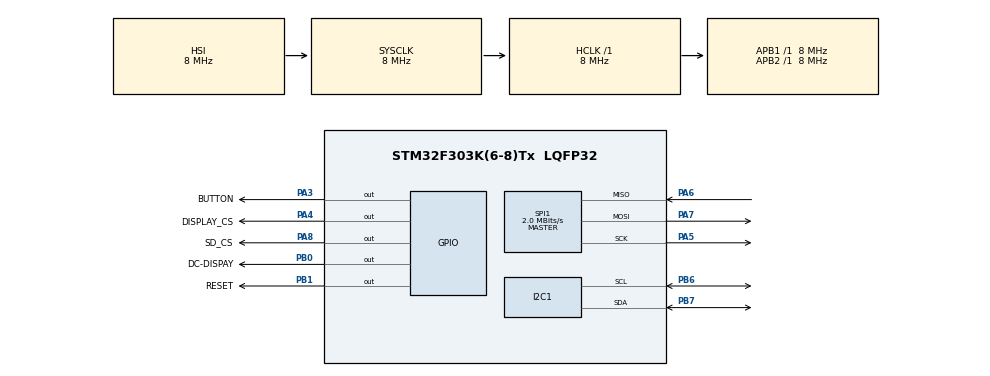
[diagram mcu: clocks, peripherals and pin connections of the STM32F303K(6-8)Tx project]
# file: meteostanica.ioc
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FATFS._MAX_SS=512
FATFS._USE_LFN=1
I2C1.Timing=0x00201D2B
Mcu.Family=STM32F3
Mcu.Name=STM32F303K(6-8)Tx
Mcu.Package=LQFP32
NVIC.PriorityGroup=NVIC_PRIORITYGROUP_4
PA13.GPIO_Label=SWDIO
PA13.Mode=Serial_Wire
PA13.Signal=SYS_JTMS-SWDIO
PA14.GPIO_Label=SWCLK
PA14.Mode=Serial_Wire
PA14.Signal=SYS_JTCK-SWCLK
PA3.GPIO_Label=BUTTON
PA3.Signal=GPIO_Output
PA4.GPIO_Label=DISPLAY_CS
PA4.Signal=GPIO_Output
PA5.GPIO_PuPd=GPIO_PULLUP
PA5.Mode=Full_Duplex_Master
PA5.Signal=SPI1_SCK
PA6.GPIO_PuPd=GPIO_PULLUP
PA6.Mode=Full_Duplex_Master
PA6.Signal=SPI1_MISO
PA7.GPIO_PuPd=GPIO_PULLUP
PA7.Mode=Full_Duplex_Master
PA7.Signal=SPI1_MOSI
PA8.GPIO_Label=SD_CS
PA8.PinState=GPIO_PIN_SET
PA8.Signal=GPIO_Output
PB0.GPIO_Label=DC-DISPAY
PB0.Signal=GPIO_Output
PB1.GPIO_Label=RESET
PB1.Signal=GPIO_Output
PB6.Mode=I2C
PB6.Signal=I2C1_SCL
PB7.Mode=I2C
PB7.Signal=I2C1_SDA
PF0\ /\ OSC_IN.Mode=HSE-External-Oscillator
PF0\ /\ OSC_IN.Signal=RCC_OSC_IN
ProjectManager.HeapSize=0x200
ProjectManager.StackSize=0x400
ProjectManager.TargetToolchain=STM32CubeIDE
RCC.AHBFreq_Value=8000000
RCC.APB1Freq_Value=8000000
RCC.APB2Freq_Value=8000000
RCC.CortexFreq_Value=8000000
RCC.HSE_VALUE=8000000
RCC.HSI_VALUE=8000000
RCC.SYSCLKFreq_VALUE=8000000
RTC.Date=20
RTC.Hours=8
RTC.Month=RTC_MONTH_DECEMBER
RTC.SynchPrediv=249
RTC.WeekDay=RTC_WEEKDAY_THURSDAY
RTC.Year=24
SPI1.BaudRatePrescaler=SPI_BAUDRATEPRESCALER_4
SPI1.CalculateBaudRate=2.0 MBits/s
SPI1.DataSize=SPI_DATASIZE_8BIT
SPI1.Direction=SPI_DIRECTION_2LINES
SPI1.Mode=SPI_MODE_MASTER
SPI1.VirtualType=VM_MASTER
VP_FATFS_VS_Generic.Mode=User_defined
VP_RTC_VS_RTC_Activate.Mode=RTC_Enabled
VP_RTC_VS_RTC_Calendar.Mode=RTC_Calendar
board=custom

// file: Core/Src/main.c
/* USER CODE BEGIN Header */
/**
  ******************************************************************************
  * @file           : main.c
  * @brief          : Main program body
  ******************************************************************************
  * @attention
  *
  * <h2><center>&copy; Copyright (c) 2019 STMicroelectronics.
  * All rights reserved.</center></h2>
  *
  * This software component is licensed by ST under BSD 3-Clause license,
  * the "License"; You may not use this file except in compliance with the
  * License. You may obtain a copy of the License at:
  *                        opensource.org/licenses/BSD-3-Clause
  *
  ******************************************************************************
  */
/* USER CODE END Header */
#include "main.h"
#include "fatfs.h"

/* USER CODE BEGIN Includes */
#include "lps25hb.h"
#include "spi.h"
#include "hts221.h"
#include "i2c.h"
#include "zambretti.h"
#include "gpio.h"
#include "ili9163.h"
#include <stdio.h>
#include <time.h>
#include <stdlib.h>
/* USER CODE END Includes */

RTC_HandleTypeDef hrtc;

/* USER CODE BEGIN PV */
RTC_HandleTypeDef hrtc;
DMA_HandleTypeDef hdma_spi1_tx;
//TIM_HandleTypeDef htim2;

/* USER CODE END PV */

void SystemClock_Config(void);
//static void MX_GPIO_Init(void);
static void MX_I2C1_Init(void);
//static void MX_SPI1_Init(void);
static void MX_RTC_Init(void);
/* USER CODE BEGIN PFP */
void TempHumPres(float temperature, float humidity, int pressure);

/* USER CODE END PFP */

/* USER CODE BEGIN 0 */
float temperature = 0;
float humidity = 0;
float pressure = 0;
char z_text[50];
uint8_t rx_data = 0;
uint8_t switchState = 0; // 0 = main program, 1 = graph
float temperatureHistory[24 * 7] = {0}; // Array for 7 days of hourly temperatures
uint8_t graphDrawn = 0;

/* USER CODE BEGIN 0 */
void EXTI3_IRQHandler(void)
{

        if (LL_EXTI_IsActiveFlag_0_31(LL_EXTI_LINE_3))
        {
            LL_EXTI_ClearFlag_0_31(LL_EXTI_LINE_3); // Clear the interrupt flag
            switchState = !switchState; // Toggle switch state
        }

}

/* USER CODE END 0 */

int main(void)
{

  /* MCU Configuration--------------------------------------------------------*/

  /* Reset of all peripherals, Initializes the Flash interface and the Systick. */
  HAL_Init();

  /* Configure the system clock */
  SystemClock_Config();

  /* Initialize all configured peripherals */
  MX_GPIO_Init();
  MX_I2C1_Init();
  MX_SPI1_Init();
  MX_FATFS_Init();
  MX_RTC_Init();
  /* USER CODE BEGIN 2 */
  initCD_Pin();
  initCS_Pin();
  initRES_Pin();
  LL_mDelay(50);
  lcdInitialise(0x48);
  lcdClearDisplay(0xFFFF);
  HTS221_init();
  LPS25HB_init();

  /* USER CODE END 2 */

  /* Infinite loop */
  /* USER CODE BEGIN WHILE */
  NVIC_SetPriorityGrouping(NVIC_PRIORITYGROUP_4);
  for (int i = 0; i < 8 * 7; i++) {
        temperatureHistory[i] = (rand() % 21) + 10; // Random temperatures between 10 and 30 degrees
    }

  uint8_t lastWeather = 0;
  while (1)
  {
    /* USER CODE END WHILE */

  }
}

void SystemClock_Config(void)
{
  RCC_OscInitTypeDef RCC_OscInitStruct = {0};
  RCC_ClkInitTypeDef RCC_ClkInitStruct = {0};
  RCC_PeriphCLKInitTypeDef PeriphClkInit = {0};

  /** Initializes the RCC Oscillators according to the specified parameters
  * in the RCC_OscInitTypeDef structure.
  */
  RCC_OscInitStruct.OscillatorType = RCC_OSCILLATORTYPE_HSI|RCC_OSCILLATORTYPE_LSI;
  RCC_OscInitStruct.HSIState = RCC_HSI_ON;
  RCC_OscInitStruct.HSICalibrationValue = RCC_HSICALIBRATION_DEFAULT;
  RCC_OscInitStruct.LSIState = RCC_LSI_ON;
  RCC_OscInitStruct.PLL.PLLState = RCC_PLL_NONE;
  if (HAL_RCC_OscConfig(&RCC_OscInitStruct) != HAL_OK)
  {
    Error_Handler();
  }

  /** Initializes the CPU, AHB and APB buses clocks
  */
  RCC_ClkInitStruct.ClockType = RCC_CLOCKTYPE_HCLK|RCC_CLOCKTYPE_SYSCLK
                              |RCC_CLOCKTYPE_PCLK1|RCC_CLOCKTYPE_PCLK2;
  RCC_ClkInitStruct.SYSCLKSource = RCC_SYSCLKSOURCE_HSI;
  RCC_ClkInitStruct.AHBCLKDivider = RCC_SYSCLK_DIV1;
  RCC_ClkInitStruct.APB1CLKDivider = RCC_HCLK_DIV1;
  RCC_ClkInitStruct.APB2CLKDivider = RCC_HCLK_DIV1;

  if (HAL_RCC_ClockConfig(&RCC_ClkInitStruct, FLASH_LATENCY_0) != HAL_OK)
  {
    Error_Handler();
  }
  PeriphClkInit.PeriphClockSelection = RCC_PERIPHCLK_I2C1|RCC_PERIPHCLK_RTC;
  PeriphClkInit.I2c1ClockSelection = RCC_I2C1CLKSOURCE_HSI;
  PeriphClkInit.RTCClockSelection = RCC_RTCCLKSOURCE_LSI;
  if (HAL_RCCEx_PeriphCLKConfig(&PeriphClkInit) != HAL_OK)
  {
    Error_Handler();
  }
}

static void MX_I2C1_Init(void)
{

  /* USER CODE BEGIN I2C1_Init 0 */
//
  /* USER CODE END I2C1_Init 0 */

  LL_I2C_InitTypeDef I2C_InitStruct = {0};

  LL_GPIO_InitTypeDef GPIO_InitStruct = {0};

  LL_AHB1_GRP1_EnableClock(LL_AHB1_GRP1_PERIPH_GPIOB);
  /**I2C1 GPIO Configuration
  PB6   ------> I2C1_SCL
  PB7   ------> I2C1_SDA
  */
  GPIO_InitStruct.Pin = LL_GPIO_PIN_6|LL_GPIO_PIN_7;
  GPIO_InitStruct.Mode = LL_GPIO_MODE_ALTERNATE;
  GPIO_InitStruct.Speed = LL_GPIO_SPEED_FREQ_HIGH;
  GPIO_InitStruct.OutputType = LL_GPIO_OUTPUT_OPENDRAIN;
  GPIO_InitStruct.Pull = LL_GPIO_PULL_NO;
  GPIO_InitStruct.Alternate = LL_GPIO_AF_4;
  LL_GPIO_Init(GPIOB, &GPIO_InitStruct);

  /* Peripheral clock enable */
  LL_APB1_GRP1_EnableClock(LL_APB1_GRP1_PERIPH_I2C1);

  /* USER CODE BEGIN I2C1_Init 1 */
//
  /* USER CODE END I2C1_Init 1 */

  /** I2C Initialization
  */
  LL_I2C_EnableAutoEndMode(I2C1);
  LL_I2C_DisableOwnAddress2(I2C1);
  LL_I2C_DisableGeneralCall(I2C1);
  LL_I2C_EnableClockStretching(I2C1);
  I2C_InitStruct.PeripheralMode = LL_I2C_MODE_I2C;
  I2C_InitStruct.Timing = 0x00201D2B;
  I2C_InitStruct.AnalogFilter = LL_I2C_ANALOGFILTER_ENABLE;
  I2C_InitStruct.DigitalFilter = 0;
  I2C_InitStruct.OwnAddress1 = 0;
  I2C_InitStruct.TypeAcknowledge = LL_I2C_ACK;
  I2C_InitStruct.OwnAddrSize = LL_I2C_OWNADDRESS1_7BIT;
  LL_I2C_Init(I2C1, &I2C_InitStruct);
  LL_I2C_SetOwnAddress2(I2C1, 0, LL_I2C_OWNADDRESS2_NOMASK);
  /* USER CODE BEGIN I2C1_Init 2 */
//
  /* USER CODE END I2C1_Init 2 */

}

static void MX_RTC_Init(void)
{

  RTC_TimeTypeDef sTime = {0};
  RTC_DateTypeDef sDate = {0};

  /** Initialize RTC Only
  */
  hrtc.Instance = RTC;
  hrtc.Init.HourFormat = RTC_HOURFORMAT_24;
  hrtc.Init.AsynchPrediv = 127;
  hrtc.Init.SynchPrediv = 249;
  hrtc.Init.OutPut = RTC_OUTPUT_DISABLE;
  hrtc.Init.OutPutPolarity = RTC_OUTPUT_POLARITY_HIGH;
  hrtc.Init.OutPutType = RTC_OUTPUT_TYPE_OPENDRAIN;
  if (HAL_RTC_Init(&hrtc) != HAL_OK)
  {
    Error_Handler();
  }

  /** Initialize RTC and set the Time and Date
  */
  sTime.Hours = 0x8;
  sTime.Minutes = 0x0;
  sTime.Seconds = 0x0;
  sTime.DayLightSaving = RTC_DAYLIGHTSAVING_NONE;
  sTime.StoreOperation = RTC_STOREOPERATION_RESET;
  if (HAL_RTC_SetTime(&hrtc, &sTime, RTC_FORMAT_BCD) != HAL_OK)
  {
    Error_Handler();
  }
  sDate.WeekDay = RTC_WEEKDAY_THURSDAY;
  sDate.Month = RTC_MONTH_DECEMBER;
  sDate.Date = 0x20;
  sDate.Year = 0x24;

  if (HAL_RTC_SetDate(&hrtc, &sDate, RTC_FORMAT_BCD) != HAL_OK)
  {
    Error_Handler();
  }

}

//static void MX_SPI1_Init(void)
//{
//
//  /* USER CODE BEGIN SPI1_Init 0 */
//
//  /* USER CODE END SPI1_Init 0 */
//
//  LL_SPI_InitTypeDef SPI_InitStruct = {0};
//
//  LL_GPIO_InitTypeDef GPIO_InitStruct = {0};
//
//  /* Peripheral clock enable */
//  LL_APB2_GRP1_EnableClock(LL_APB2_GRP1_PERIPH_SPI1);
//
//  LL_AHB1_GRP1_EnableClock(LL_AHB1_GRP1_PERIPH_GPIOA);
//  /**SPI1 GPIO Configuration
//  PA5   ------> SPI1_SCK
//  PA6   ------> SPI1_MISO
//  PA7   ------> SPI1_MOSI
//  */
//  GPIO_InitStruct.Pin = LL_GPIO_PIN_5|LL_GPIO_PIN_6|LL_GPIO_PIN_7;
//  GPIO_InitStruct.Mode = LL_GPIO_MODE_ALTERNATE;
//  GPIO_InitStruct.Speed = LL_GPIO_SPEED_FREQ_HIGH;
//  GPIO_InitStruct.OutputType = LL_GPIO_OUTPUT_PUSHPULL;
//  GPIO_InitStruct.Pull = LL_GPIO_PULL_UP;
//  GPIO_InitStruct.Alternate = LL_GPIO_AF_5;
//  LL_GPIO_Init(GPIOA, &GPIO_InitStruct);
//
//  /* USER CODE BEGIN SPI1_Init 1 */
//
//  /* USER CODE END SPI1_Init 1 */
//  /* SPI1 parameter configuration*/
//  SPI_InitStruct.TransferDirection = LL_SPI_FULL_DUPLEX;
//  SPI_InitStruct.Mode = LL_SPI_MODE_MASTER;
//  SPI_InitStruct.DataWidth = LL_SPI_DATAWIDTH_8BIT;
//  SPI_InitStruct.ClockPolarity = LL_SPI_POLARITY_LOW;
//  SPI_InitStruct.ClockPhase = LL_SPI_PHASE_1EDGE;
//  SPI_InitStruct.NSS = LL_SPI_NSS_SOFT;
//  SPI_InitStruct.BaudRate = LL_SPI_BAUDRATEPRESCALER_DIV4;
//  SPI_InitStruct.BitOrder = LL_SPI_MSB_FIRST;
//  SPI_InitStruct.CRCCalculation = LL_SPI_CRCCALCULATION_DISABLE;
//  SPI_InitStruct.CRCPoly = 7;
//  LL_SPI_Init(SPI1, &SPI_InitStruct);
//  LL_SPI_SetStandard(SPI1, LL_SPI_PROTOCOL_MOTOROLA);
//  LL_SPI_EnableNSSPulseMgt(SPI1);
//  /* USER CODE BEGIN SPI1_Init 2 */
//
//  /* USER CODE END SPI1_Init 2 */
//
//}
//
///**
//  * @brief GPIO Initialization Function
//  * @param None
//  * @retval None
//  */
//static void MX_GPIO_Init(void)
//{
//  LL_GPIO_InitTypeDef GPIO_InitStruct = {0};
///* USER CODE BEGIN MX_GPIO_Init_1 */
///* USER CODE END MX_GPIO_Init_1 */
//
//  /* GPIO Ports Clock Enable */
//  LL_AHB1_GRP1_EnableClock(LL_AHB1_GRP1_PERIPH_GPIOF);
//  LL_AHB1_GRP1_EnableClock(LL_AHB1_GRP1_PERIPH_GPIOA);
//  LL_AHB1_GRP1_EnableClock(LL_AHB1_GRP1_PERIPH_GPIOB);
//
//  /**/
//  LL_GPIO_ResetOutputPin(GPIOA, BUTTON_Pin|DISPLAY_CS_Pin);
//
//  /**/
//  LL_GPIO_ResetOutputPin(GPIOB, DC_DISPAY_Pin|RESET_Pin);
//
//  /**/
//  LL_GPIO_SetOutputPin(SD_CS_GPIO_Port, SD_CS_Pin);
//
//  /**/
//  GPIO_InitStruct.Pin = BUTTON_Pin|DISPLAY_CS_Pin|SD_CS_Pin;
//  GPIO_InitStruct.Mode = LL_GPIO_MODE_OUTPUT;
//  GPIO_InitStruct.Speed = LL_GPIO_SPEED_FREQ_LOW;
//  GPIO_InitStruct.OutputType = LL_GPIO_OUTPUT_PUSHPULL;
//  GPIO_InitStruct.Pull = LL_GPIO_PULL_NO;
//  LL_GPIO_Init(GPIOA, &GPIO_InitStruct);
//
//  /**/
//  GPIO_InitStruct.Pin = DC_DISPAY_Pin|RESET_Pin;
//  GPIO_InitStruct.Mode = LL_GPIO_MODE_OUTPUT;
//  GPIO_InitStruct.Speed = LL_GPIO_SPEED_FREQ_LOW;
//  GPIO_InitStruct.OutputType = LL_GPIO_OUTPUT_PUSHPULL;
//  GPIO_InitStruct.Pull = LL_GPIO_PULL_NO;
//  LL_GPIO_Init(GPIOB, &GPIO_InitStruct);
//
///* USER CODE BEGIN MX_GPIO_Init_2 */
///* USER CODE END MX_GPIO_Init_2 */
//}

/* USER CODE BEGIN 4 */
void TempHumPres(float temperature, float humidity, int pressure)
{
    char buffer[10];

    // Display the static labels for temperature and humidity
    lcdPutLargeS("Tem.:", 10, 90, 0x0000, 0xFFFF);       // Black text on white background
    lcdPutLargeS("Hum.:", 170, 90, 0x0000, 0xFFFF);    // Black text on white background
    lcdPutLargeS("Pres.:", 10, 75, 0x0000, 0xFFFF);    // Black text on white background

    //dlhodobá predpove�?
    lcdPutLargeS("Fairly Fine Showery     Later", 10, 140, 0x0000, 0xFFFF);

    // Display the temperature value
    snprintf(buffer, sizeof(buffer), "%.1f C", temperature);
    lcdPutLargeS(buffer, 70, 90, 0x0000, 0xFFFF);   // Display temperature in large font

    // Display the humidity value
    snprintf(buffer, sizeof(buffer), "%.1f %%", humidity);
    lcdPutLargeS(buffer, 230, 90, 0x0000, 0xFFFF);   // Display humidity in large font

    // Display the humidity value
    snprintf(buffer, sizeof(buffer), "%d hPa", pressure);
    lcdPutLargeS(buffer, 80, 75, 0x0000, 0xFFFF);   // Display humidity in large font
}
/* USER CODE END 4 */

void Error_Handler(void)
{
}
